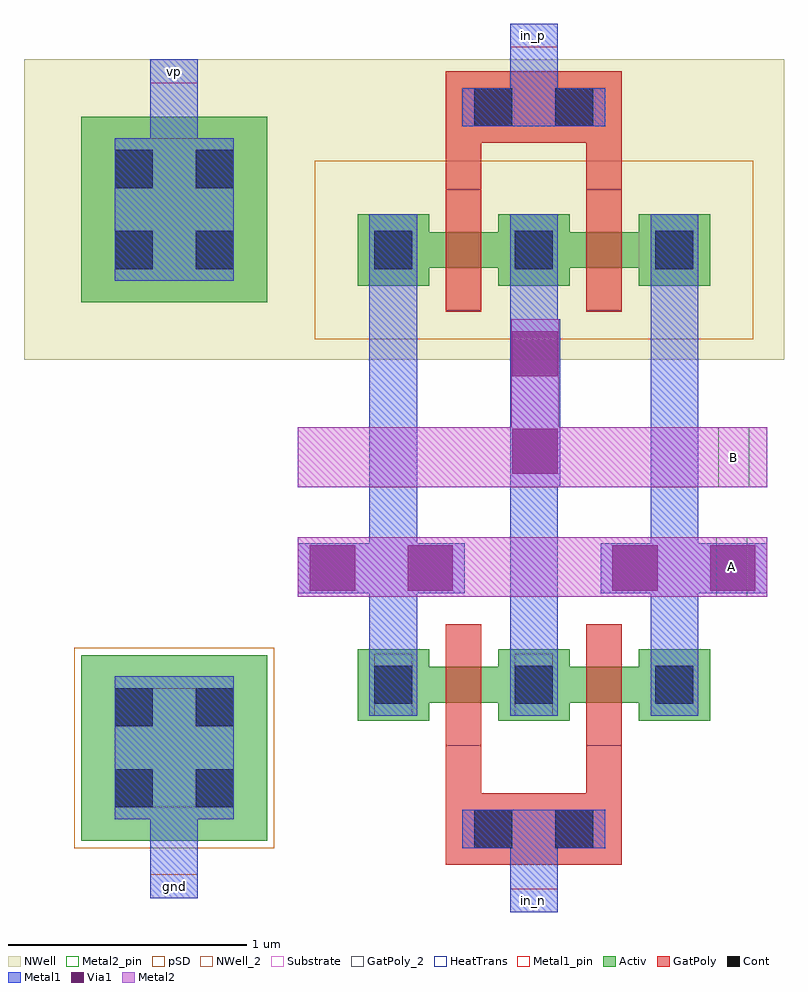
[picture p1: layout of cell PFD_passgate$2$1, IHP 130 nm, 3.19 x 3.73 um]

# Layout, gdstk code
import gdstk
lib = gdstk.Library(unit=1e-6, precision=1e-09)
def R(c, l, rs):  # rectangles x0, y0, x1, y1
    for r in rs: c.add(gdstk.rectangle(r[:2], r[2:], *l))
def A(c, l, x, y, w, h, nx, ny, dx, dy):  # array of equal rectangles
    R(c, l, [(x+i*dx, y+j*dy, x+i*dx+w, y+j*dy+h) for i in range(nx) for j in range(ny)])
Activ = (1, 0)
GatPoly = (5, 0)
GatPoly_2 = (5, 2)
Cont = (6, 0)
Metal1 = (8, 0)
Metal1_pin = (8, 2)
Metal2 = (10, 0)
Metal2_pin = (10, 2)
pSD = (14, 0)
Via1 = (19, 0)
NWell = (31, 0)
NWell_2 = (31, 2)
Substrate = (40, 0)
HeatTrans = (51, 0)

pmos_1_2_1 = lib.new_cell('pmos$1$2$1')
A(pmos_1_2_1, Activ, 0, 0, 0.3, 0.3, 3, 1, 0.59, 0)
R(pmos_1_2_1, Activ, [(0,0.075,1.48,0.225)])
R(pmos_1_2_1, GatPoly, [(0.37,-0.105,0.52,0.405), (0.37,-0.105,0.52,0.405), (0.96,-0.105,1.11,0.405)])
A(pmos_1_2_1, Cont, 0.07, 0.07, 0.16, 0.16, 3, 1, 0.59, 0)
R(pmos_1_2_1, Metal1, [(0.07,0.02,0.23,0.28), (0.07,0.02,0.23,0.28), (0.66,0.02,0.82,0.28), (0.66,0.02,0.82,0.28), (1.25,0.02,1.41,0.28)])
R(pmos_1_2_1, pSD, [(-0.18,-0.225,1.66,0.525)])
R(pmos_1_2_1, NWell, [(-0.31,-0.31,1.79,0.61)])
R(pmos_1_2_1, Substrate, [(1.18,0,1.48,0.3)])
R(pmos_1_2_1, HeatTrans, [(0.37,-0.105,0.52,0.405), (0.96,-0.105,1.11,0.405)])
pmos_1_2_1.add(gdstk.Label('pmos', (0.445,0.15), layer=63, texttype=0))
pmos_1_2_1.add(gdstk.Label('pmos', (0.445,0.15), layer=51, texttype=0))
pmos_1_2_1.add(gdstk.Label('pmos', (1.035,0.15), layer=51, texttype=0))

via_2_1_2_1 = lib.new_cell('Via$2$1$2$1')
R(via_2_1_2_1, Metal1, [(-0.35,-0.105,0.35,0.105)])
R(via_2_1_2_1, Metal2, [(-0.35,-0.1,0.35,0.1)])
R(via_2_1_2_1, Via1, [(-0.3,-0.095,-0.11,0.095), (0.11,-0.095,0.3,0.095)])

via_7_2_1 = lib.new_cell('Via$7$2$1')
R(via_7_2_1, GatPoly, [(-0.32,-0.15,0.32,0.15)])
R(via_7_2_1, Cont, [(-0.25,-0.08,-0.09,0.08), (0.09,-0.08,0.25,0.08)])
R(via_7_2_1, Metal1, [(-0.3,-0.08,0.3,0.08)])

nmos_1_2_1 = lib.new_cell('nmos$1$2$1')
A(nmos_1_2_1, Activ, 0, 0, 0.3, 0.3, 3, 1, 0.59, 0)
R(nmos_1_2_1, Activ, [(0,0.075,1.48,0.225)])
R(nmos_1_2_1, GatPoly, [(0.37,-0.105,0.52,0.405), (0.96,-0.105,1.11,0.405)])
R(nmos_1_2_1, GatPoly_2, [(0.37,-0.105,0.52,0.405)])
A(nmos_1_2_1, Cont, 0.07, 0.07, 0.16, 0.16, 3, 1, 0.59, 0)
A(nmos_1_2_1, Metal1, 0.07, 0.02, 0.16, 0.26, 3, 1, 0.59, 0)
R(nmos_1_2_1, Metal1_pin, [(0.07,0.02,0.23,0.28), (0.66,0.02,0.82,0.28)])
R(nmos_1_2_1, HeatTrans, [(0.37,-0.105,0.52,0.405), (0.96,-0.105,1.11,0.405)])
nmos_1_2_1.add(gdstk.Label('nmos', (0.445,0.15), layer=63, texttype=0))
nmos_1_2_1.add(gdstk.Label('nmos', (0.445,0.15), layer=51, texttype=0))
nmos_1_2_1.add(gdstk.Label('nmos', (1.035,0.15), layer=51, texttype=0))

via_4_1_2_1 = lib.new_cell('Via$4$1$2$1')
R(via_4_1_2_1, Metal1, [(-0.105,-0.35,0.105,0.35)])
R(via_4_1_2_1, Metal2, [(-0.1,-0.35,0.1,0.35)])
R(via_4_1_2_1, Via1, [(-0.095,-0.3,0.095,-0.11), (-0.095,0.11,0.095,0.3)])

ptap1_1_2_1 = lib.new_cell('ptap1$1$2$1')
R(ptap1_1_2_1, Activ, [(0,0,0.78,0.78)])
R(ptap1_1_2_1, Cont, [(0.14,0.14,0.3,0.3), (0.48,0.14,0.64,0.3), (0.14,0.48,0.3,0.64), (0.48,0.48,0.64,0.64)])
R(ptap1_1_2_1, Metal1, [(0.14,0.09,0.64,0.69), (0.14,0.14,0.64,0.64)])
R(ptap1_1_2_1, Metal1_pin, [(0.14,0.14,0.64,0.64)])
R(ptap1_1_2_1, pSD, [(-0.03,-0.03,0.81,0.81)])
R(ptap1_1_2_1, Substrate, [(0,0,0.78,0.78)])
ptap1_1_2_1.add(gdstk.Label('sub!', (0.39,0.01), layer=63, texttype=0))
ptap1_1_2_1.add(gdstk.Label('sub!', (0.39,0.01), layer=40, texttype=0))

ntap1_1_2_1 = lib.new_cell('ntap1$1$2$1')
R(ntap1_1_2_1, Activ, [(0,0,0.78,0.78)])
R(ntap1_1_2_1, Cont, [(0.14,0.14,0.3,0.3), (0.48,0.14,0.64,0.3), (0.14,0.48,0.3,0.64), (0.48,0.48,0.64,0.64)])
R(ntap1_1_2_1, Metal1, [(0.14,0.09,0.64,0.69)])
R(ntap1_1_2_1, Metal1_pin, [(0.14,0.09,0.64,0.69), (0.14,0.14,0.64,0.64)])
R(ntap1_1_2_1, NWell, [(-0.24,-0.24,1.02,1.02), (0,0,0.78,0.78)])
R(ntap1_1_2_1, NWell_2, [(0,0,0.78,0.78)])
ntap1_1_2_1.add(gdstk.Label('well', (0.39,0.01), layer=63, texttype=0))
ntap1_1_2_1.add(gdstk.Label('well', (0.39,0.01), layer=31, texttype=0))

pfd_passgate_2_1 = lib.new_cell('PFD_passgate$2$1')
R(pfd_passgate_2_1, GatPoly, [(-0.05,-0.8,0.69,-0.5), (-0.05,-0.5,0.1,0.21), (0.54,-0.5,0.69,0.21), (-0.05,1.52,0.1,2.23), (0.54,1.52,0.69,2.23), (-0.05,2.23,0.69,2.53)])
R(pfd_passgate_2_1, Metal1_pin, [(0.22,-1,0.42,-0.9), (-1.29,-0.94,-1.09,-0.84), (-1.29,2.48,-1.09,2.58), (0.22,2.63,0.42,2.73)])
R(pfd_passgate_2_1, Metal2_pin, [(1.085,0.325,1.215,0.575), (1.095,0.785,1.225,1.035)])
R(pfd_passgate_2_1, NWell, [(-1.82,1.32,1.37,2.58)])
pfd_passgate_2_1.add(gdstk.FlexPath([(0.91,-0.175),(0.91,0.43)], 0.2, ends="flush", simple_path=True, layer=8, datatype=0))  # Metal1
pfd_passgate_2_1.add(gdstk.FlexPath([(-0.27,-0.175),(-0.27,0.43),(-0.27,0.43)], 0.2, ends="flush", simple_path=True, layer=8, datatype=0))  # Metal1
pfd_passgate_2_1.add(gdstk.FlexPath([(0.32,-0.175),(0.32,1.035),(0.32,1.035)], 0.2, ends="flush", simple_path=True, layer=8, datatype=0))  # Metal1
pfd_passgate_2_1.add(gdstk.FlexPath([(0.32,1.035),(0.32,1.93)], 0.2, ends="flush", simple_path=True, layer=8, datatype=0))  # Metal1
pfd_passgate_2_1.add(gdstk.FlexPath([(-0.27,1.93),(-0.27,0.785)], 0.2, ends="flush", simple_path=True, layer=8, datatype=0))  # Metal1
pfd_passgate_2_1.add(gdstk.FlexPath([(0.91,1.93),(0.91,0.785),(0.91,0.785)], 0.2, ends="flush", simple_path=True, layer=8, datatype=0))  # Metal1
pfd_passgate_2_1.add(gdstk.FlexPath([(-0.27,1.19),(-0.27,0.16)], 0.2, ends="flush", simple_path=True, layer=8, datatype=0))  # Metal1
pfd_passgate_2_1.add(gdstk.FlexPath([(0.91,1.13),(0.91,0.18)], 0.2, ends="flush", simple_path=True, layer=8, datatype=0))  # Metal1
pfd_passgate_2_1.add(gdstk.FlexPath([(0.32,-1),(0.32,-0.57),(0.32,-0.57)], 0.2, ends="flush", simple_path=True, layer=8, datatype=0))  # Metal1
pfd_passgate_2_1.add(gdstk.FlexPath([(0.32,2.73),(0.32,2.3)], 0.2, ends="flush", simple_path=True, layer=8, datatype=0))  # Metal1
pfd_passgate_2_1.add(gdstk.FlexPath([(-1.19,2.25),(-1.19,2.58)], 0.2, ends="flush", simple_path=True, layer=8, datatype=0))  # Metal1
pfd_passgate_2_1.add(gdstk.FlexPath([(-1.19,-0.94),(-1.19,-0.61)], 0.2, ends="flush", simple_path=True, layer=8, datatype=0))  # Metal1
pfd_passgate_2_1.add(gdstk.FlexPath([(-0.59,0.45),(1.21,0.45)], 0.25, ends="flush", simple_path=True, layer=10, datatype=0))  # Metal2
pfd_passgate_2_1.add(gdstk.FlexPath([(-0.575,0.91),(1.225,0.91)], 0.25, ends="flush", simple_path=True, layer=10, datatype=0))  # Metal2
pfd_passgate_2_1.add(gdstk.FlexPath([(0.52,0.45),(1.3,0.45)], 0.25, ends="flush", simple_path=True, layer=10, datatype=0))  # Metal2
pfd_passgate_2_1.add(gdstk.FlexPath([(1.3,0.91),(1.07,0.91)], 0.25, ends="flush", simple_path=True, layer=10, datatype=0))  # Metal2
pfd_passgate_2_1.add(gdstk.FlexPath([(0.12,0.45),(-0.67,0.45)], 0.25, ends="flush", simple_path=True, layer=10, datatype=0))  # Metal2
pfd_passgate_2_1.add(gdstk.FlexPath([(-0.67,0.91),(-0.575,0.91)], 0.25, ends="flush", simple_path=True, layer=10, datatype=0))  # Metal2
pfd_passgate_2_1.add(gdstk.Reference(pmos_1_2_1, (-0.42,1.63)))
pfd_passgate_2_1.add(gdstk.Reference(via_2_1_2_1, (0.95,0.445)))
pfd_passgate_2_1.add(gdstk.Reference(via_2_1_2_1, (-0.32,0.445)))
pfd_passgate_2_1.add(gdstk.Reference(via_7_2_1, (0.32,-0.65)))
pfd_passgate_2_1.add(gdstk.Reference(nmos_1_2_1, (-0.42,-0.195)))
pfd_passgate_2_1.add(gdstk.Reference(via_7_2_1, (0.32,2.38)))
pfd_passgate_2_1.add(gdstk.Reference(via_4_1_2_1, (0.325,1.14)))
pfd_passgate_2_1.add(gdstk.Reference(ptap1_1_2_1, (-1.58,-0.7)))
pfd_passgate_2_1.add(gdstk.Reference(ntap1_1_2_1, (-1.58,1.56)))
pfd_passgate_2_1.add(gdstk.Label('B', (1.16,0.91), layer=10, texttype=25))
pfd_passgate_2_1.add(gdstk.Label('A', (1.15,0.45), layer=10, texttype=25))
pfd_passgate_2_1.add(gdstk.Label('in_n', (0.32,-0.95), layer=8, texttype=25))
pfd_passgate_2_1.add(gdstk.Label('in_p', (0.32,2.68), layer=8, texttype=25))
pfd_passgate_2_1.add(gdstk.Label('gnd', (-1.19,-0.89), layer=8, texttype=25))
pfd_passgate_2_1.add(gdstk.Label('vp', (-1.19,2.53), layer=8, texttype=25))

lib.write_gds('PFD_passgate_2_1.gds')
